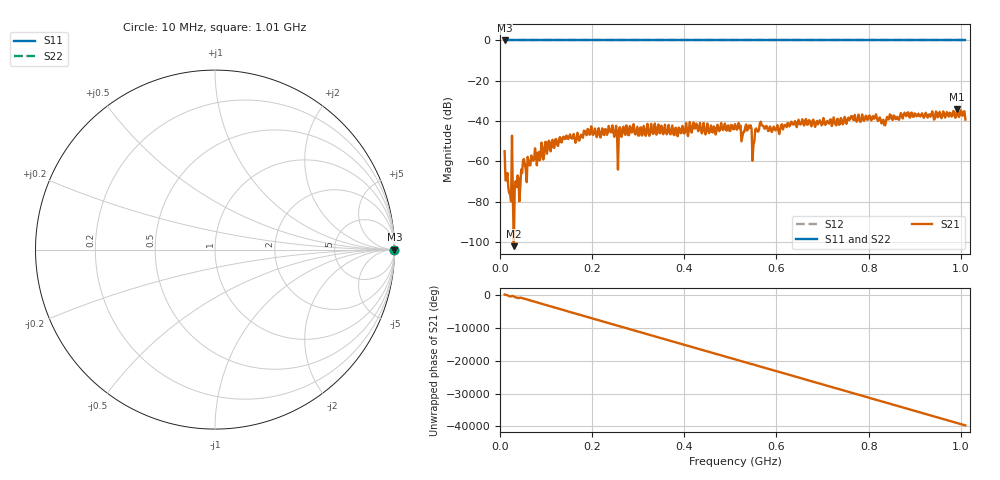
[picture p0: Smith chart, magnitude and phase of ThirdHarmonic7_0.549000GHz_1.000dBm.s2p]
! 8/17/2025 4:37:27 PM
! C:\ANRITSUVNA\TEMP\TEMP.S2P
! CHANNEL.1
! TR.MEASUREMENT
! RAW.DATA
! RF.CORRECTION.OFF
! AVERAGING.OFF
! IF.BANDWIDTH: 5KHZ
! SWEEPTYPE:  FREQ.SWEEP(Linear)
! Reference Plane Port Info
! PORT:  PORT1  PORT2
! DISTANCE:  0  m  0  m
! TIME:  0  s  0  s
! PHASE.OFFSET:  0  deg.  0  deg.
! LOSS:  0  dB  0  dB
! REF.LOSS:  0  dB  0  dB
! REF.FREQ:  0  Hz  0  Hz
! Power Info
! POWER:  -20  dBm  -20  dBm
! EFF.POWER:  -20  dBm  -20  dBm
! SOURCE.ATTEN:  0  dB  0  dB
! TEST.ATTEN:  0  dB  0  dB
# GHZ S RI R 50.0
! FREQ.GHZ  S11RE  S11IM  S21RE  S21IM  S12RE  S12IM  S22RE  S22IM
!; PortSelection: Port_12
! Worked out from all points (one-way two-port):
!   501 points, 10 MHz to 1.01 GHz, reference 50 ohm
!   highest |S21| = -34.06 dB at 992 MHz (marker M1); lowest = -102.1 dB at 30 MHz (marker M2)
!   lowest |S11| = 0.0 dB at 10 MHz (marker M3)
!   |S11| at or under -10 dB: nowhere
!   |S22| runs from 0.0 to 0.0 dB; largest |S21 - S12| = 1
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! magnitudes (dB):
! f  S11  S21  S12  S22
! 10 MHz  0.0  -55.0  0.0  0.0
! 20 MHz  0.0  -75.9  0.0  0.0
! 30 MHz  0.0  -102.1  0.0  0.0
! 32 MHz  0.0  -73.2  0.0  0.0
! 44 MHz  0.0  -73.1  0.0  0.0
! 50 MHz  0.0  -59.5  0.0  0.0
! 102 MHz  0.0  -56.2  0.0  0.0
! 178 MHz  0.0  -47.9  0.0  0.0
! 240 MHz  0.0  -45.6  0.0  0.0
! 260 MHz  0.0  -43.0  0.0  0.0
! 262 MHz  0.0  -47.4  0.0  0.0
! 272 MHz  0.0  -46.9  0.0  0.0
! 344 MHz  0.0  -41.7  0.0  0.0
! 510 MHz  0.0  -41.5  0.0  0.0
! 528 MHz  0.0  -45.5  0.0  0.0
! 542 MHz  0.0  -43.5  0.0  0.0
! 550 MHz  0.0  -51.8  0.0  0.0
! 568 MHz  0.0  -42.0  0.0  0.0
! 678 MHz  0.0  -40.0  0.0  0.0
! 844 MHz  0.0  -39.1  0.0  0.0
! 992 MHz  0.0  -34.1  0.0  0.0
! 1.01 GHz  0.0  -39.3  0.0  0.0
